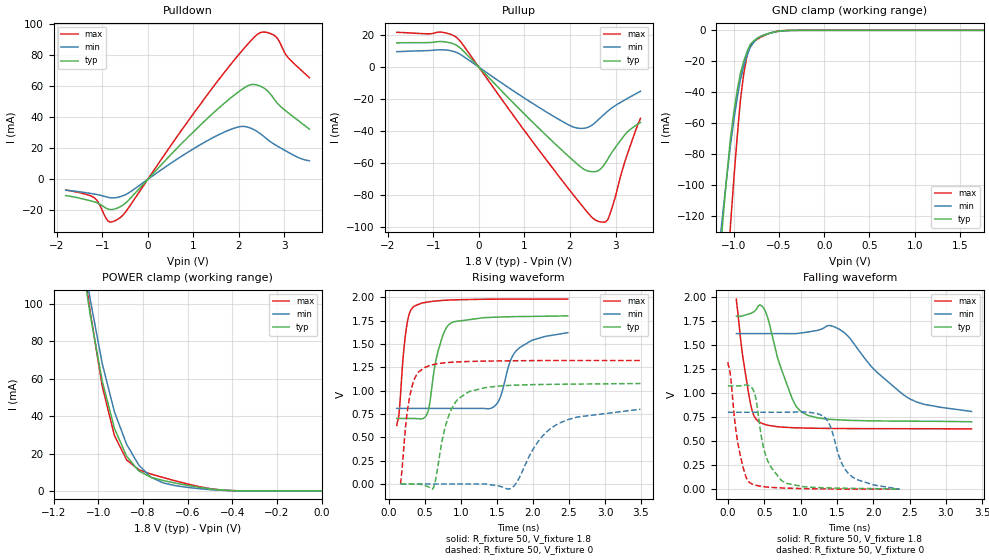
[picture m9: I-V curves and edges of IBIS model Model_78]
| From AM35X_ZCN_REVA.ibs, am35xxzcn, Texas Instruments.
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| Model based on original model for BC1833DV40CTPBFZP18LL_7LM
|   Sub model LL_7LM_PD_PU_OFF_1P8
[model]   Model_78
|[Description]  1.8V-I/O-PI-X
|[Input Load]   PI
|[Output Drive]
|Voltage   1.8V
|Mode   I/O
Model_type   I/O
Polarity   Non-Inverting
Enable   Active-Low
Vinl =  0.63V
Vinh =  1.17V
Cref =  15pF
Rref =  100.0000M
Vref =  0V
Vmeas =  0.9
C_comp   2.232809p   2.073051p   2.295852p
[Model Spec]
Vinl   0.63V   0.567V   0.693V
Vinh   1.17V   1.053V   1.287V
[Temperature Range]   25   125   -40
[Voltage Range]   1.8   1.62   1.98
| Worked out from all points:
|   slope of the pulldown table from 0 to 0.27 V, typ, clamps not added: 31.5 ohm
|   slope of the pullup table from 0 to 0.27 V, typ, clamps not added: 33.5 ohm
|   GND clamp passes 1 mA (typ) near -0.54 V on its own axis
|   POWER clamp passes 1 mA (typ) near -0.49 V on its own axis
|   rising waveform, R_fixture 50, V_fixture 1.8: 20-80 % time 168ps typ, 246ps min, 94.6ps max; typ from 0.702 V to 1.8 V
|   rising waveform, R_fixture 50, V_fixture 0: 20-80 % time 227ps typ, 475ps min, 131ps max; typ from 0 V to 1.08 V
|   falling waveform, R_fixture 50, V_fixture 1.8: 20-80 % time 282ps typ, 649ps min, 154ps max; typ from 1.8 V to 0.702 V
|   falling waveform, R_fixture 50, V_fixture 0: 20-80 % time 204ps typ, 246ps min, 145ps max; typ from 1.08 V to 0 V
[POWER_clamp]
-1.8V     842.2mA    869.1mA    912.5mA
-1.055V   109mA      116.8mA    112.5mA
-1.036V   94.63mA    102.8mA    96.22mA
-981.8mV  58.65mA    67.99mA    55.86mA
-927.3mV  33.42mA    42.23mA    29.64mA
-872.7mV  18.54mA    24.92mA    16.54mA
-818.2mV  10.66mA    13.77mA    11.33mA
-763.6mV  7.291mA    7.319mA    9.029mA
-709.1mV  5.568mA    4.279mA    7.154mA
-654.5mV  4.197mA    2.818mA    5.381mA
-436.4mV  381.9uA    275.7uA    348.1uA
0V        17.81nA    62.52nA    29.22nA
[Pulldown]
-1.8V     -10.48mA   -6.986mA   -6.871mA
-1.145V   -14.76mA   -9.635mA   -12.53mA
-872.7mV  -19.16mA   -11.57mA   -26.86mA
-600mV    -17.63mA   -11.14mA   -24.6mA
1.636V    48.02mA    29.94mA    67.34mA
2.073V    58.19mA    34.17mA    83.16mA
2.291V    61.26mA    32.65mA    90.37mA
2.455V    60.31mA    29.78mA    94.52mA
2.618V    57.35mA    25.94mA    94.79mA
2.782V    51.42mA    22.55mA    92.8mA
3.055V    43.58mA    17.93mA    79.45mA
3.545V    32.44mA    11.99mA    65.6mA
[Pullup]
-1.8V     15.25mA    9.689mA    21.84mA
-818.2mV  16.04mA    10.87mA    21.92mA
-490.9mV  13.71mA    9.212mA    18.64mA
1.036V    -30.4mA    -20.07mA   -41.09mA
2.018V    -57.11mA   -36.81mA   -77.94mA
2.345V    -64.48mA   -38.06mA   -89.56mA
2.618V    -64.84mA   -32.95mA   -96.49mA
2.782V    -59.78mA   -28.7mA    -96.85mA
2.836V    -57.13mA   -27.34mA   -95.02mA
3V        -50.06mA   -23.92mA   -80.63mA
3.218V    -41.82mA   -20.26mA   -57.92mA
3.545V    -34.58mA   -15.09mA   -32.06mA
[GND_clamp]
-1.8V     -697.8mA   -553.2mA   -1.259A
-1.145V   -140.6mA   -131.7mA   -248.3mA
-1.109V   -115.1mA   -111.6mA   -203.3mA
-1.036V   -69.6mA    -74.07mA   -125.9mA
-1V       -53.16mA   -58.25mA   -96.51mA
-927.3mV  -27.95mA   -31.85mA   -45.33mA
-890.9mV  -20.12mA   -23.33mA   -28.4mA
-854.5mV  -13.86mA   -16.38mA   -16.49mA
-818.2mV  -9.165mA   -11mA      -9.583mA
-745.5mV  -5.275mA   -5.606mA   -5.955mA
-418.2mV  -132.4uA   -214.4uA   -105.2uA
1.764V    17.27nA    517.3nA    24.83nA
[Ramp]
dV/dt_f 0.72790979/0.29629198n 0.53680598/0.67655767n 0.89197507/0.16214684n
dV/dt_r 0.67919076/0.22567297n 0.51335242/0.47383479n 0.81249964/0.13161071n
R_load = 50
[Rising Waveform]
R_fixture = 50
V_fixture = 1.8
V_fixture_min = 1.62
V_fixture_max = 1.98
106.5ps   701.7mV    809.2mV    626.9mV
140.9ps   701.7mV    809.2mV    782.2mV
241.6ps   701.7mV    809.2mV    1.681V
341.3ps   701.2mV    809.2mV    1.901V
528.9ps   752.5mV    809.2mV    1.948V
666.8ps   1.382V     809.2mV    1.96V
840.4ps   1.714V     809.2mV    1.97V
1.445ns   1.785V     821.9mV    1.979V
1.765ns   1.792V     1.425V     1.979V
2.482ns   1.8V       1.62V      1.98V
[Rising Waveform]
R_fixture = 50
V_fixture = 0
V_fixture_min = 0
V_fixture_max = 0
159.6ps   9.701nV    106.6nV    8.922nV
234.3ps   27.29uV    3.035uV    659.5mV
298.5ps   -444.1uV   1.934uV    982.9mV
491ps     -14.74mV   -522.8nV   1.245V
614.5ps   -40.29mV   -2.729nV   1.278V
836ps     746.8mV    -2.273uV   1.302V
1.107ns   988.1mV    -296uV     1.312V
1.69ns    1.056V     -48.92mV   1.319V
2.319ns   1.067V     632mV      1.322V
3.493ns   1.076V     800.9mV    1.322V
[Falling Waveform]
R_fixture = 50
V_fixture = 1.8
V_fixture_min = 1.62
V_fixture_max = 1.98
116.8ps   1.8V       1.62V      1.98V
194.5ps   1.803V     1.62V      1.437V
300.4ps   1.828V     1.62V      930.1mV
438.9ps   1.917V     1.62V      696.7mV
528.5ps   1.828V     1.62V      670.1mV
875.8ps   958.9mV    1.62V      640.6mV
1.007ns   806.9mV    1.627V     637.5mV
1.479ns   723.7mV    1.686V     632.1mV
2.465ns   708.2mV    957mV      629.5mV
3.352ns   701.7mV    809.2mV    626.9mV
[Falling Waveform]
R_fixture = 50
V_fixture = 0
V_fixture_min = 0
V_fixture_max = 0
0s        1.076V     800.9mV    1.322V
34.59ps   1.076V     800.9mV    1.185V
140.9ps   1.076V     800.9mV    462.7mV
298.3ps   1.076V     800.9mV    69mV
374.4ps   978.1mV    800.9mV    42.89mV
522.4ps   343.8mV    800.9mV    23.25mV
734.3ps   92.05mV    800.9mV    12.57mV
1.319ns   14.5mV     754.9mV    2.74mV
1.659ns   9.462mV    162.2mV    1.011mV
2.364ns   9.701nV    106.6nV    8.922nV
